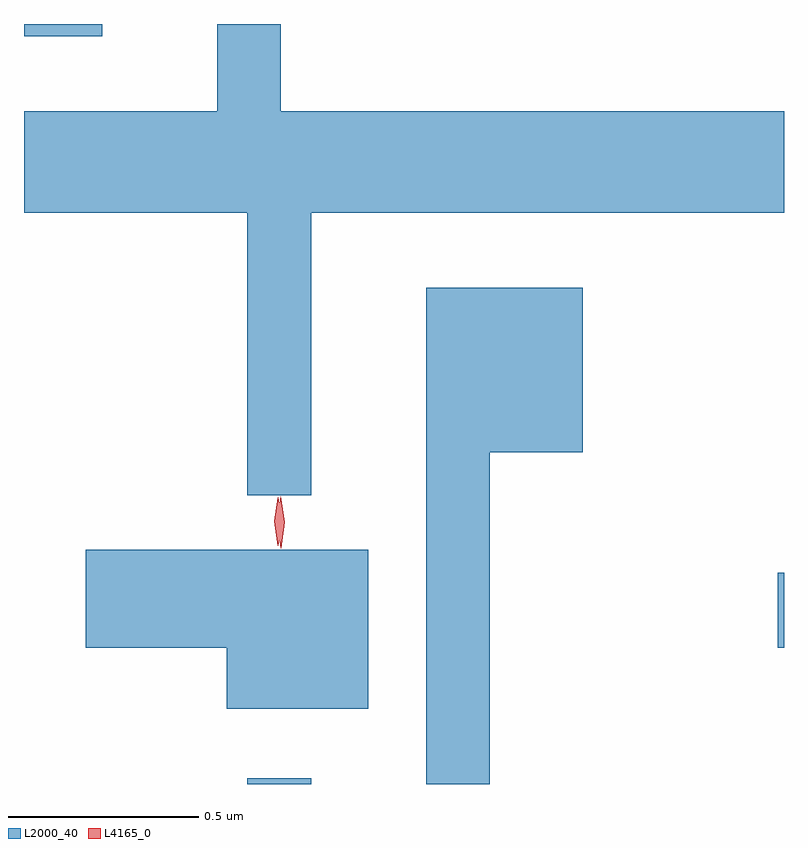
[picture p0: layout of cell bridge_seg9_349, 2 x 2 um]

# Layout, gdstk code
import gdstk
lib = gdstk.Library(unit=1e-6, precision=1e-09)
def R(c, l, rs):  # rectangles x0, y0, x1, y1
    for r in rs: c.add(gdstk.rectangle(r[:2], r[2:], *l))
def P(c, l, *ps):  # polygons
    for p in ps: c.add(gdstk.Polygon(p, *l))
L2000_40 = (2000, 40)
L4165_0 = (4165, 0)

bridge_seg9_349 = lib.new_cell('bridge_seg9_349')
R(bridge_seg9_349, L2000_40, [(732.611,2076.893,732.779,2076.908), (734.006,2077.251,734.023,2077.449), (732.023,2078.861,732.229,2078.893)])
P(bridge_seg9_349, L2000_40, [(732.779,2078.396),(734.023,2078.396),(734.023,2078.664),(732.699,2078.664),(732.699,2078.893),(732.531,2078.893),(732.531,2078.664),(732.023,2078.664),(732.023,2078.396),(732.611,2078.396),(732.611,2077.653),(732.779,2077.653)],
  [(733.249,2077.766),(733.494,2077.766),(733.494,2078.199),(733.081,2078.199),(733.081,2076.893),(733.249,2076.893)],
  [(732.929,2077.509),(732.186,2077.509),(732.186,2077.251),(732.556,2077.251),(732.556,2077.091),(732.929,2077.091)])
P(bridge_seg9_349, L4165_0, [(732.699,2077.514),(732.689,2077.582),(732.698,2077.65),(732.699,2077.65),(732.699,2077.65),(732.709,2077.582),(732.7,2077.514),(732.7,2077.514)],
  [(732.691,2077.52),(732.682,2077.584),(732.691,2077.646),(732.692,2077.647),(732.692,2077.646),(732.702,2077.584),(732.692,2077.52),(732.692,2077.52)])

lib.write_gds('bridge_seg9_349.gds')
